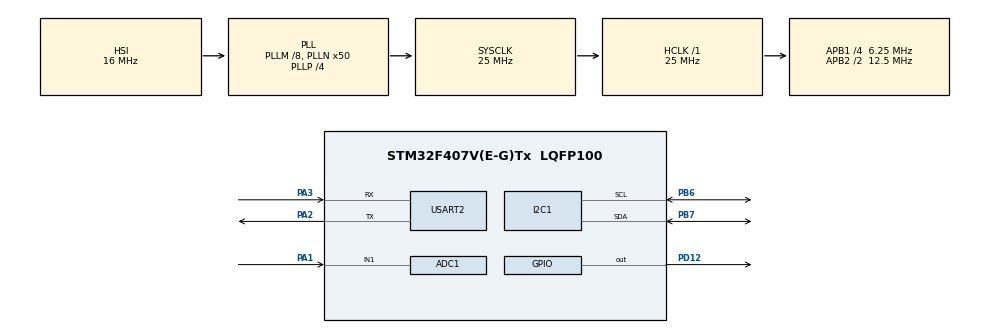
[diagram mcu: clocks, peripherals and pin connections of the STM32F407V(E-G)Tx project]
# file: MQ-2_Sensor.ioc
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ADC1.Channel-0\#ChannelRegularConversion=ADC_CHANNEL_1
ADC1.NbrOfConversionFlag=1
ADC1.Rank-0\#ChannelRegularConversion=1
ADC1.SamplingTime-0\#ChannelRegularConversion=ADC_SAMPLETIME_3CYCLES
ADC1.master=1
Mcu.Family=STM32F4
Mcu.Name=STM32F407V(E-G)Tx
Mcu.Package=LQFP100
NVIC.PriorityGroup=NVIC_PRIORITYGROUP_0
PA1.Signal=ADCx_IN1
PA2.Mode=Asynchronous
PA2.Signal=USART2_TX
PA3.Mode=Asynchronous
PA3.Signal=USART2_RX
PB6.Mode=I2C
PB6.Signal=I2C1_SCL
PB7.Mode=I2C
PB7.Signal=I2C1_SDA
PD12.Signal=GPIO_Output
ProjectManager.HeapSize=0x200
ProjectManager.StackSize=0x400
ProjectManager.TargetToolchain=STM32CubeIDE
RCC.48MHZClocksFreq_Value=14285714.285714285
RCC.AHBFreq_Value=25000000
RCC.APB1CLKDivider=RCC_HCLK_DIV4
RCC.APB1Freq_Value=6250000
RCC.APB1TimFreq_Value=12500000
RCC.APB2CLKDivider=RCC_HCLK_DIV2
RCC.APB2Freq_Value=12500000
RCC.APB2TimFreq_Value=25000000
RCC.CortexFreq_Value=25000000
RCC.HCLKFreq_Value=25000000
RCC.HSE_VALUE=8000000
RCC.HSI_VALUE=16000000
RCC.LSE_VALUE=32768
RCC.PLLM=8
RCC.PLLN=50
RCC.PLLP=RCC_PLLP_DIV4
RCC.PLLQ=7
RCC.SYSCLKFreq_VALUE=25000000
RCC.SYSCLKSource=RCC_SYSCLKSOURCE_PLLCLK
RCC.VCOOutputFreq_Value=100000000
SH.ADCx_IN1.0=ADC1_IN1,IN1
USART2.VirtualMode=VM_ASYNC
board=STM32F407G-DISC1

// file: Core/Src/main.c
/* USER CODE BEGIN Header */
/**
  ******************************************************************************
  * @file           : main.c
  * @brief          : Main program body
  ******************************************************************************
  * @attention
  *
  * Copyright (c) 2025 STMicroelectronics.
  * All rights reserved.
  *
  * This software is licensed under terms that can be found in the LICENSE file
  * in the root directory of this software component.
  * If no LICENSE file comes with this software, it is provided AS-IS.
  *
  ******************************************************************************
  */
/* USER CODE END Header */
#include "main.h"

ADC_HandleTypeDef hadc1;

I2C_HandleTypeDef hi2c1;

UART_HandleTypeDef huart2;

void SystemClock_Config(void);
static void MX_GPIO_Init(void);
static void MX_ADC1_Init(void);
static void MX_I2C1_Init(void);
static void MX_USART2_UART_Init(void);

/* USER CODE BEGIN 0 */
#define MAX_LEN 1000

#define buzzer_on 12

/* USER CODE END 0 */

int main(void)
{

  /* MCU Configuration--------------------------------------------------------*/

  /* Reset of all peripherals, Initializes the Flash interface and the Systick. */
  HAL_Init();

  /* Configure the system clock */
  SystemClock_Config();

  /* Initialize all configured peripherals */
  MX_GPIO_Init();
  MX_ADC1_Init();
  MX_I2C1_Init();
  MX_USART2_UART_Init();

  /* Infinite loop */
  /* USER CODE BEGIN WHILE */
  char str[20];
  int val;
  int thershold =1500;
  while (1)
  {
    /* USER CODE END WHILE */

    /* USER CODE BEGIN 3 */
	       HAL_ADC_Start(&hadc1);
	 	  HAL_ADC_PollForConversion(&hadc1, HAL_MAX_DELAY);
	 	  val = HAL_ADC_GetValue(&hadc1);
	 	  HAL_ADC_Stop(&hadc1);
	 	  sprintf(str , "smoke : %d\r\n",val);
	 	  HAL_UART_Transmit(&huart2, (uint8_t *)str, strlen(str), HAL_MAX_DELAY);
	 	  HAL_Delay(1000);
	  	   if( (val > thershold )==1)
	  	   {
	  		 HAL_GPIO_WritePin(GPIOD,GPIO_PIN_12,GPIO_PIN_SET);
	  			  HAL_Delay(1000);

	  	   }

	  	   else
	  	   {
	  		 HAL_GPIO_WritePin(GPIOD,GPIO_PIN_12,GPIO_PIN_RESET);
	  			  			  	  HAL_Delay(1000);
	  	   }
  }
  /* USER CODE END 3 */
}

void SystemClock_Config(void)
{
  RCC_OscInitTypeDef RCC_OscInitStruct = {0};
  RCC_ClkInitTypeDef RCC_ClkInitStruct = {0};

  /** Configure the main internal regulator output voltage
  */
  __HAL_RCC_PWR_CLK_ENABLE();
  __HAL_PWR_VOLTAGESCALING_CONFIG(PWR_REGULATOR_VOLTAGE_SCALE1);

  /** Initializes the RCC Oscillators according to the specified parameters
  * in the RCC_OscInitTypeDef structure.
  */
  RCC_OscInitStruct.OscillatorType = RCC_OSCILLATORTYPE_HSI;
  RCC_OscInitStruct.HSIState = RCC_HSI_ON;
  RCC_OscInitStruct.HSICalibrationValue = RCC_HSICALIBRATION_DEFAULT;
  RCC_OscInitStruct.PLL.PLLState = RCC_PLL_ON;
  RCC_OscInitStruct.PLL.PLLSource = RCC_PLLSOURCE_HSI;
  RCC_OscInitStruct.PLL.PLLM = 8;
  RCC_OscInitStruct.PLL.PLLN = 50;
  RCC_OscInitStruct.PLL.PLLP = RCC_PLLP_DIV4;
  RCC_OscInitStruct.PLL.PLLQ = 7;
  if (HAL_RCC_OscConfig(&RCC_OscInitStruct) != HAL_OK)
  {
    Error_Handler();
  }

  /** Initializes the CPU, AHB and APB buses clocks
  */
  RCC_ClkInitStruct.ClockType = RCC_CLOCKTYPE_HCLK|RCC_CLOCKTYPE_SYSCLK
                              |RCC_CLOCKTYPE_PCLK1|RCC_CLOCKTYPE_PCLK2;
  RCC_ClkInitStruct.SYSCLKSource = RCC_SYSCLKSOURCE_PLLCLK;
  RCC_ClkInitStruct.AHBCLKDivider = RCC_SYSCLK_DIV1;
  RCC_ClkInitStruct.APB1CLKDivider = RCC_HCLK_DIV4;
  RCC_ClkInitStruct.APB2CLKDivider = RCC_HCLK_DIV2;

  if (HAL_RCC_ClockConfig(&RCC_ClkInitStruct, FLASH_LATENCY_0) != HAL_OK)
  {
    Error_Handler();
  }
}

static void MX_ADC1_Init(void)
{

  ADC_ChannelConfTypeDef sConfig = {0};

  /** Configure the global features of the ADC (Clock, Resolution, Data Alignment and number of conversion)
  */
  hadc1.Instance = ADC1;
  hadc1.Init.ClockPrescaler = ADC_CLOCK_SYNC_PCLK_DIV2;
  hadc1.Init.Resolution = ADC_RESOLUTION_12B;
  hadc1.Init.ScanConvMode = DISABLE;
  hadc1.Init.ContinuousConvMode = DISABLE;
  hadc1.Init.DiscontinuousConvMode = DISABLE;
  hadc1.Init.ExternalTrigConvEdge = ADC_EXTERNALTRIGCONVEDGE_NONE;
  hadc1.Init.ExternalTrigConv = ADC_SOFTWARE_START;
  hadc1.Init.DataAlign = ADC_DATAALIGN_RIGHT;
  hadc1.Init.NbrOfConversion = 1;
  hadc1.Init.DMAContinuousRequests = DISABLE;
  hadc1.Init.EOCSelection = ADC_EOC_SINGLE_CONV;
  if (HAL_ADC_Init(&hadc1) != HAL_OK)
  {
    Error_Handler();
  }

  /** Configure for the selected ADC regular channel its corresponding rank in the sequencer and its sample time.
  */
  sConfig.Channel = ADC_CHANNEL_1;
  sConfig.Rank = 1;
  sConfig.SamplingTime = ADC_SAMPLETIME_3CYCLES;
  if (HAL_ADC_ConfigChannel(&hadc1, &sConfig) != HAL_OK)
  {
    Error_Handler();
  }

}

static void MX_I2C1_Init(void)
{

  hi2c1.Instance = I2C1;
  hi2c1.Init.ClockSpeed = 100000;
  hi2c1.Init.DutyCycle = I2C_DUTYCYCLE_2;
  hi2c1.Init.OwnAddress1 = 0;
  hi2c1.Init.AddressingMode = I2C_ADDRESSINGMODE_7BIT;
  hi2c1.Init.DualAddressMode = I2C_DUALADDRESS_DISABLE;
  hi2c1.Init.OwnAddress2 = 0;
  hi2c1.Init.GeneralCallMode = I2C_GENERALCALL_DISABLE;
  hi2c1.Init.NoStretchMode = I2C_NOSTRETCH_DISABLE;
  if (HAL_I2C_Init(&hi2c1) != HAL_OK)
  {
    Error_Handler();
  }

}

static void MX_USART2_UART_Init(void)
{

  huart2.Instance = USART2;
  huart2.Init.BaudRate = 9600;
  huart2.Init.WordLength = UART_WORDLENGTH_8B;
  huart2.Init.StopBits = UART_STOPBITS_1;
  huart2.Init.Parity = UART_PARITY_NONE;
  huart2.Init.Mode = UART_MODE_TX_RX;
  huart2.Init.HwFlowCtl = UART_HWCONTROL_NONE;
  huart2.Init.OverSampling = UART_OVERSAMPLING_16;
  if (HAL_UART_Init(&huart2) != HAL_OK)
  {
    Error_Handler();
  }

}

static void MX_GPIO_Init(void)
{
  GPIO_InitTypeDef GPIO_InitStruct = {0};

  /* GPIO Ports Clock Enable */
  __HAL_RCC_GPIOA_CLK_ENABLE();
  __HAL_RCC_GPIOD_CLK_ENABLE();
  __HAL_RCC_GPIOB_CLK_ENABLE();

  /*Configure GPIO pin Output Level */
  HAL_GPIO_WritePin(GPIOD, GPIO_PIN_12, GPIO_PIN_RESET);

  /*Configure GPIO pin : PD12 */
  GPIO_InitStruct.Pin = GPIO_PIN_12;
  GPIO_InitStruct.Mode = GPIO_MODE_OUTPUT_PP;
  GPIO_InitStruct.Pull = GPIO_NOPULL;
  GPIO_InitStruct.Speed = GPIO_SPEED_FREQ_LOW;
  HAL_GPIO_Init(GPIOD, &GPIO_InitStruct);

}

void Error_Handler(void)
{
  __disable_irq();
  while (1)
  {
  }
}
